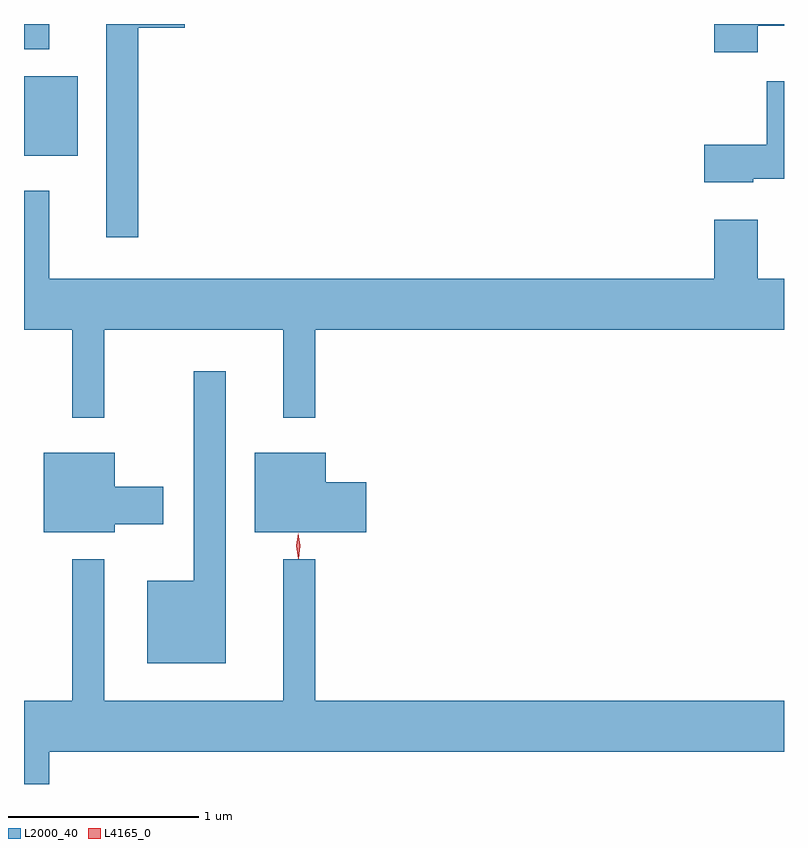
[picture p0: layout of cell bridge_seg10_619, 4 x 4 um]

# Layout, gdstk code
import gdstk
lib = gdstk.Library(unit=1e-6, precision=1e-09)
def R(c, l, rs):  # rectangles x0, y0, x1, y1
    for r in rs: c.add(gdstk.rectangle(r[:2], r[2:], *l))
def P(c, l, *ps):  # polygons
    for p in ps: c.add(gdstk.Polygon(p, *l))
L2000_40 = (2000, 40)
L4165_0 = (4165, 0)

bridge_seg10_619 = lib.new_cell('bridge_seg10_619')
R(bridge_seg10_619, L2000_40, [(720.437,2094.851,720.719,2095.269), (720.437,2095.413,720.569,2095.545)])
P(bridge_seg10_619, L2000_40, [(724.299,2095.536),(724.437,2095.536),(724.437,2095.545),(724.071,2095.545),(724.071,2095.396),(724.299,2095.396)],
  [(721.039,2095.526),(721.284,2095.526),(721.284,2095.545),(720.871,2095.545),(720.871,2094.423),(721.039,2094.423)],
  [(724.274,2094.731),(724.437,2094.731),(724.437,2095.244),(724.346,2095.244),(724.346,2094.909),(724.016,2094.909),(724.016,2094.711),(724.274,2094.711)],
  [(720.859,2093.936),(721.801,2093.936),(721.801,2093.472),(721.969,2093.472),(721.969,2093.936),(724.437,2093.936),(724.437,2094.204),(724.299,2094.204),(724.299,2094.514),(724.071,2094.514),(724.071,2094.204),(720.569,2094.204),(720.569,2094.668),(720.437,2094.668),(720.437,2093.936),(720.691,2093.936),(720.691,2093.472),(720.859,2093.472)],
  [(721.499,2093.718),(721.331,2093.718),(721.331,2092.614),(721.086,2092.614),(721.086,2092.181),(721.499,2092.181)],
  [(720.914,2092.911),(721.169,2092.911),(721.169,2093.109),(720.914,2093.109),(720.914,2093.289),(720.541,2093.289),(720.541,2092.871),(720.914,2092.871)],
  [(722.239,2093.134),(722.024,2093.134),(722.024,2093.289),(721.651,2093.289),(721.651,2092.871),(722.239,2092.871)],
  [(720.569,2091.716),(724.437,2091.716),(724.437,2091.984),(721.969,2091.984),(721.969,2092.728),(721.801,2092.728),(721.801,2091.984),(720.859,2091.984),(720.859,2092.728),(720.691,2092.728),(720.691,2091.984),(720.437,2091.984),(720.437,2091.545),(720.569,2091.545)])
P(bridge_seg10_619, L4165_0, [(721.881,2092.73),(721.881,2092.73),(721.871,2092.798),(721.88,2092.865),(721.881,2092.866),(721.881,2092.865),(721.891,2092.798),(721.882,2092.73)],
  [(721.881,2092.733),(721.881,2092.733),(721.871,2092.796),(721.88,2092.859),(721.881,2092.86),(721.881,2092.859),(721.891,2092.796),(721.882,2092.733)])

lib.write_gds('bridge_seg10_619.gds')
